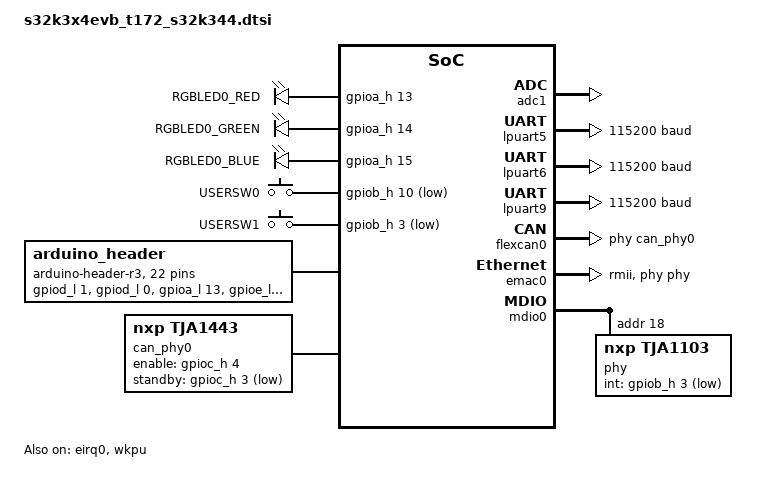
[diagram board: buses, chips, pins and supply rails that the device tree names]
/*
* SPDX-FileCopyrightText: Copyright The Zephyr Project Contributors
*
* SPDX-License-Identifier: Apache-2.0
*/
#include <zephyr/dt-bindings/gpio/gpio.h>
#include <zephyr/dt-bindings/input/input-event-codes.h>
#include "s32k3x4evb_t172_s32k344-pinctrl.dtsi"
#include <zephyr/dt-bindings/gpio/arduino-header-r3.h>
#include <arm/nxp/nxp_s32k344_m7.dtsi>

/ {
	aliases {
		led0 = &user_led_red;
		led1 = &user_led_green;
		led2 = &user_led_blue;
		sw0 = &user_button_0;
		sw1 = &user_button_1;
		dma0 = &edma0;
	};
	
	chosen {
		zephyr,console = &lpuart6;
		zephyr,canbus = &flexcan0;
		// zephyr,uart=&lpuart9;
	};
	
	leds {
		compatible = "gpio-leds";
		
		user_led_red: user_led_red {
			gpios = <&gpioa_h 13 (GPIO_PULL_UP | GPIO_ACTIVE_HIGH)>;
			label = "RGBLED0_RED";
		};
		
		user_led_green: user_led_green {
			gpios = <&gpioa_h 14 (GPIO_PULL_UP | GPIO_ACTIVE_HIGH)>;
			label = "RGBLED0_GREEN";
		};
		
		user_led_blue: user_led_blue {
			gpios = <&gpioa_h 15 (GPIO_PULL_UP | GPIO_ACTIVE_HIGH)>;
			label = "RGBLED0_BLUE";
		};
	};
	
	gpio_keys {
		compatible = "gpio-keys";
		
		user_button_0: button_0 {
			label = "USERSW0";
			gpios = <&gpiob_h 10 GPIO_ACTIVE_LOW>;
			zephyr,code = <INPUT_KEY_0>;
		};
		
		user_button_1: button_1 {
			label = "USERSW1";
			gpios = <&gpiob_h 3 GPIO_ACTIVE_LOW>;
			zephyr,code = <INPUT_KEY_1>;
		};
	};
	
	arduino_header: connector {
		compatible = "arduino-header-r3";
		#gpio-cells = <2>;
		gpio-map-mask = <0xffffffff 0xffffffc0>;
		gpio-map-pass-thru = <0 0x3f>;
		gpio-map = <ARDUINO_HEADER_R3_A0 0 &gpiod_l 1 0>,
		<ARDUINO_HEADER_R3_A1 0 &gpiod_l 0 0>,
		<ARDUINO_HEADER_R3_A2 0 &gpioa_l 13 0>,
		<ARDUINO_HEADER_R3_A3 0 &gpioe_l 1 0>,
		<ARDUINO_HEADER_R3_A4 0 &gpioe_l 0 0>,
		<ARDUINO_HEADER_R3_A5 0 &gpioa_l 14 0>,
		<ARDUINO_HEADER_R3_D0 0 &gpiob_l 12 0>,
		<ARDUINO_HEADER_R3_D1 0 &gpiob_l 13 0>,
		<ARDUINO_HEADER_R3_D2 0 &gpiod_l 2 0>,
		<ARDUINO_HEADER_R3_D3 0 &gpiod_l 3 0>,
		<ARDUINO_HEADER_R3_D4 0 &gpioa_l 2 0>,
		<ARDUINO_HEADER_R3_D5 0 &gpioa_l 3 0>,
		<ARDUINO_HEADER_R3_D6 0 &gpioa_l 1 0>,
		<ARDUINO_HEADER_R3_D7 0 &gpioa_l 0 0>,
		<ARDUINO_HEADER_R3_D8 0 &gpioc_l 11 0>,
		<ARDUINO_HEADER_R3_D9 0 &gpioc_l 10 0>,
		<ARDUINO_HEADER_R3_D10 0 &gpiob_h 1 0>,
		<ARDUINO_HEADER_R3_D11 0 &gpiob_h 0 0>,
		<ARDUINO_HEADER_R3_D12 0 &gpiob_l 15 0>,
		<ARDUINO_HEADER_R3_D13 0 &gpiob_l 14 0>,
		<ARDUINO_HEADER_R3_D14 0 &gpioc_l 6 0>,
		<ARDUINO_HEADER_R3_D15 0 &gpioc_l 7 0>;
	};
	
	can_phy0: can-phy0 {
		compatible = "nxp,tja1443", "can-transceiver-gpio";
		enable-gpios = <&gpioc_h 4 GPIO_ACTIVE_HIGH>;
		standby-gpios = <&gpioc_h 3 GPIO_ACTIVE_LOW>;
		max-bitrate = <5000000>;
		#phy-cells = <0>;
	};
};

&eirq0 {
	pinctrl-0 = <&eirq0_default>;
	pinctrl-names = "default";
	status = "okay";
};

&gpioa_l {
	status = "okay";
};

&gpioa_h {
	status = "okay";
};

&gpiob_l {
	status = "okay";
};

&gpiob_h {
	status = "okay";
};

&gpioc_l {
	status = "okay";
};

&gpioc_h {
	status = "okay";
};

&gpiod_l {
	status = "okay";
};

&gpiod_h {
	status = "okay";
};

&gpioe_l {
	status = "okay";
};

&gpioe_h {
	status = "okay";
};

&wkpu {
	status = "okay";
};

&adc1 {
	pinctrl-0 = <&adc1_default>;
	pinctrl-names = "default";
	group-channel = "standard";
	status = "okay";
};

&lpuart5 {
	pinctrl-0 = <&lpuart5_default>;
	current-speed = <115200>;
	pinctrl-names = "default";
	status = "okay";
};

&lpuart6 {
	pinctrl-0 = <&lpuart6_default>;
	current-speed = <115200>;
	pinctrl-names = "default";
	status = "okay";
};

&lpuart9 {
	pinctrl-0 = <&lpuart9_default>;
	current-speed = <115200>;
	pinctrl-names = "default";
	status = "okay";
};

&flexcan0 {
	pinctrl-0 = <&flexcan0_default>;
	pinctrl-names = "default";
	phys = <&can_phy0>;
	status = "okay";
};

&edma0 {
	status = "okay";
};

&emac0 {
	pinctrl-0 = <&emac0_default>;
	pinctrl-names = "default";
	phy-connection-type = "rmii";
	local-mac-address = [02 04 9f aa bb cc];
	phy-handle = <&phy>;
	status = "okay";
};

&mdio0 {
	pinctrl-0 = <&mdio0_default>;
	pinctrl-names = "default";
	status = "okay";
	
	phy: ethernet-phy@12 {
		compatible = "nxp,tja1103";
		status = "okay";
		reg = <0x12>;
		int-gpios = <&gpiob_h 3 GPIO_ACTIVE_LOW>;
		master-slave = "slave";
	};
};
